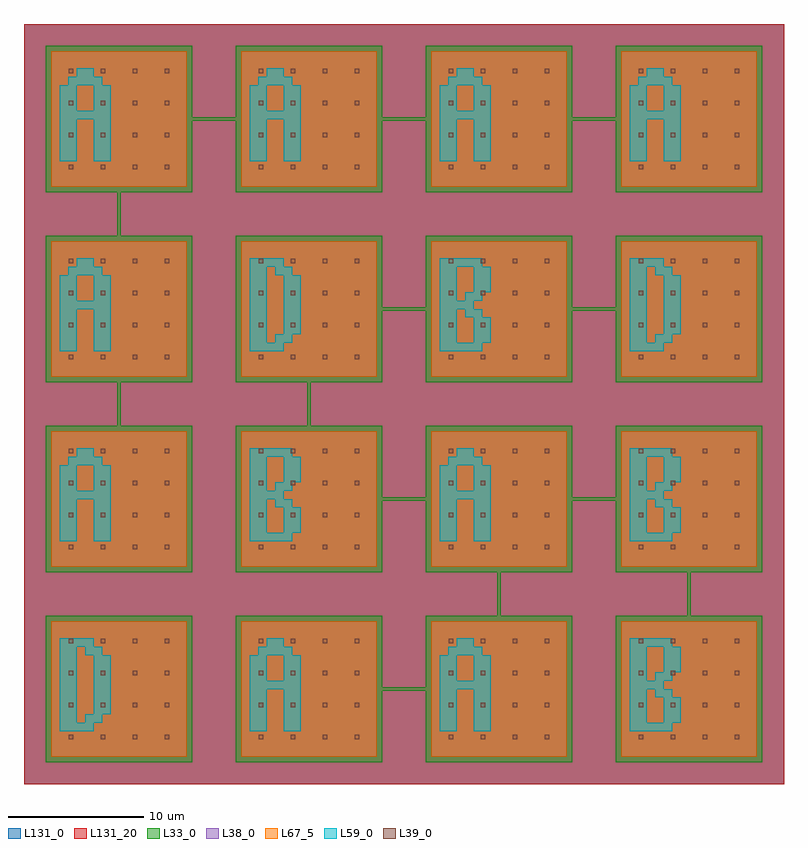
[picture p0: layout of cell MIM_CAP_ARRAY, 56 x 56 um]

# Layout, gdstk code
import gdstk
lib = gdstk.Library(unit=1e-6, precision=1e-09)
def R(c, l, rs):  # rectangles x0, y0, x1, y1
    for r in rs: c.add(gdstk.rectangle(r[:2], r[2:], *l))
def A(c, l, x, y, w, h, nx, ny, dx, dy):  # array of equal rectangles
    R(c, l, [(x+i*dx, y+j*dy, x+i*dx+w, y+j*dy+h) for i in range(nx) for j in range(ny)])
def P(c, l, *ps):  # polygons
    for p in ps: c.add(gdstk.Polygon(p, *l))
L33_0 = (33, 0)
L38_0 = (38, 0)
L39_0 = (39, 0)
L59_0 = (59, 0)
L67_5 = (67, 5)
L131_0 = (131, 0)
L131_20 = (131, 20)

mim_cap_array = lib.new_cell('MIM_CAP_ARRAY')
A(mim_cap_array, L33_0, -0.4, -0.4, 10.8, 10.8, 4, 4, 14, 14)
A(mim_cap_array, L33_0, 5, 46.86, 14, 0.28, 3, 1, 14, 0)
R(mim_cap_array, L33_0, [(19,4.86,33,5.14), (32.86,5,33.14,19), (46.86,5,47.14,19), (19,18.86,47,19.14), (4.86,19,5.14,33), (19,32.86,47,33.14), (4.86,33,5.14,47)])
P(mim_cap_array, L33_0, [(18.86,19),(19.14,19),(19.14,32.86),(33,32.86),(33,33.14),(18.86,33.14),(18.86,33.14)])
A(mim_cap_array, L38_0, 0, 0, 10, 10, 4, 4, 14, 14)
A(mim_cap_array, L39_0, 1.28, 1.28, 0.36, 0.36, 4, 4, 2.36, 2.36)
A(mim_cap_array, L39_0, 15.28, 1.28, 0.36, 0.36, 4, 4, 2.36, 2.36)
A(mim_cap_array, L39_0, 29.28, 1.28, 0.36, 0.36, 4, 4, 2.36, 2.36)
A(mim_cap_array, L39_0, 43.28, 1.28, 0.36, 0.36, 4, 4, 2.36, 2.36)
A(mim_cap_array, L39_0, 1.28, 15.28, 0.36, 0.36, 4, 4, 2.36, 2.36)
A(mim_cap_array, L39_0, 15.28, 15.28, 0.36, 0.36, 4, 4, 2.36, 2.36)
A(mim_cap_array, L39_0, 29.28, 15.28, 0.36, 0.36, 4, 4, 2.36, 2.36)
A(mim_cap_array, L39_0, 43.28, 15.28, 0.36, 0.36, 4, 4, 2.36, 2.36)
A(mim_cap_array, L39_0, 1.28, 29.28, 0.36, 0.36, 4, 4, 2.36, 2.36)
A(mim_cap_array, L39_0, 15.28, 29.28, 0.36, 0.36, 4, 4, 2.36, 2.36)
A(mim_cap_array, L39_0, 29.28, 29.28, 0.36, 0.36, 4, 4, 2.36, 2.36)
A(mim_cap_array, L39_0, 43.28, 29.28, 0.36, 0.36, 4, 4, 2.36, 2.36)
A(mim_cap_array, L39_0, 1.28, 43.28, 0.36, 0.36, 4, 4, 2.36, 2.36)
A(mim_cap_array, L39_0, 15.28, 43.28, 0.36, 0.36, 4, 4, 2.36, 2.36)
A(mim_cap_array, L39_0, 29.28, 43.28, 0.36, 0.36, 4, 4, 2.36, 2.36)
A(mim_cap_array, L39_0, 43.28, 43.28, 0.36, 0.36, 4, 4, 2.36, 2.36)
P(mim_cap_array, L59_0, [(3.75,3.125),(4.375,3.125),(4.375,7.5),(3.75,7.5),(3.75,8.125),(3.125,8.125),(3.125,8.75),(0.625,8.75),(0.625,2.5),(1.875,2.5),(1.875,8.125),(2.5,8.125),(2.5,7.5),(3.125,7.5),(3.125,3.125),(2.5,3.125),(2.5,2.5),(1.875,2.5),(0.625,2.5),(0.625,1.875),(3.125,1.875),(3.125,2.5),(3.75,2.5)],
  [(15.875,1.875),(15.875,5),(17.125,5),(17.125,1.875),(18.375,1.875),(18.375,7.5),(17.75,7.5),(17.75,8.125),(17.125,8.125),(17.125,8.75),(15.875,8.75),(15.875,8.125),(15.25,8.125),(15.25,7.5),(14.625,7.5),(14.625,5.625),(15.875,5.625),(15.875,7.5),(17.125,7.5),(17.125,5.625),(15.875,5.625),(14.625,5.625),(14.625,1.875)],
  [(29.875,1.875),(29.875,5),(31.125,5),(31.125,1.875),(32.375,1.875),(32.375,7.5),(31.75,7.5),(31.75,8.125),(31.125,8.125),(31.125,8.75),(29.875,8.75),(29.875,8.125),(29.25,8.125),(29.25,7.5),(28.625,7.5),(28.625,5.625),(29.875,5.625),(29.875,7.5),(31.125,7.5),(31.125,5.625),(29.875,5.625),(28.625,5.625),(28.625,1.875)],
  [(46.375,4.375),(45.75,4.375),(45.75,5),(45.125,5),(45.125,5.625),(45.75,5.625),(45.75,6.25),(46.375,6.25),(46.375,8.125),(45.75,8.125),(45.75,8.75),(42.625,8.75),(42.625,5.625),(43.875,5.625),(43.875,8.125),(45.125,8.125),(45.125,6.25),(44.5,6.25),(44.5,5.625),(43.875,5.625),(42.625,5.625),(42.625,2.5),(43.875,2.5),(43.875,5),(44.5,5),(44.5,4.375),(45.125,4.375),(45.125,2.5),(43.875,2.5),(42.625,2.5),(42.625,1.875),(45.75,1.875),(45.75,2.5),(46.375,2.5)],
  [(1.875,15.875),(1.875,19),(3.125,19),(3.125,15.875),(4.375,15.875),(4.375,21.5),(3.75,21.5),(3.75,22.125),(3.125,22.125),(3.125,22.75),(1.875,22.75),(1.875,22.125),(1.25,22.125),(1.25,21.5),(0.625,21.5),(0.625,19.625),(1.875,19.625),(1.875,21.5),(3.125,21.5),(3.125,19.625),(1.875,19.625),(0.625,19.625),(0.625,15.875)],
  [(18.375,18.375),(17.75,18.375),(17.75,19),(17.125,19),(17.125,19.625),(17.75,19.625),(17.75,20.25),(18.375,20.25),(18.375,22.125),(17.75,22.125),(17.75,22.75),(14.625,22.75),(14.625,19.625),(15.875,19.625),(15.875,22.125),(17.125,22.125),(17.125,20.25),(16.5,20.25),(16.5,19.625),(15.875,19.625),(14.625,19.625),(14.625,16.5),(15.875,16.5),(15.875,19),(16.5,19),(16.5,18.375),(17.125,18.375),(17.125,16.5),(15.875,16.5),(14.625,16.5),(14.625,15.875),(17.75,15.875),(17.75,16.5),(18.375,16.5)],
  [(29.875,15.875),(29.875,19),(31.125,19),(31.125,15.875),(32.375,15.875),(32.375,21.5),(31.75,21.5),(31.75,22.125),(31.125,22.125),(31.125,22.75),(29.875,22.75),(29.875,22.125),(29.25,22.125),(29.25,21.5),(28.625,21.5),(28.625,19.625),(29.875,19.625),(29.875,21.5),(31.125,21.5),(31.125,19.625),(29.875,19.625),(28.625,19.625),(28.625,15.875)],
  [(46.375,18.375),(45.75,18.375),(45.75,19),(45.125,19),(45.125,19.625),(45.75,19.625),(45.75,20.25),(46.375,20.25),(46.375,22.125),(45.75,22.125),(45.75,22.75),(42.625,22.75),(42.625,19.625),(43.875,19.625),(43.875,22.125),(45.125,22.125),(45.125,20.25),(44.5,20.25),(44.5,19.625),(43.875,19.625),(42.625,19.625),(42.625,16.5),(43.875,16.5),(43.875,19),(44.5,19),(44.5,18.375),(45.125,18.375),(45.125,16.5),(43.875,16.5),(42.625,16.5),(42.625,15.875),(45.75,15.875),(45.75,16.5),(46.375,16.5)],
  [(1.875,29.875),(1.875,33),(3.125,33),(3.125,29.875),(4.375,29.875),(4.375,35.5),(3.75,35.5),(3.75,36.125),(3.125,36.125),(3.125,36.75),(1.875,36.75),(1.875,36.125),(1.25,36.125),(1.25,35.5),(0.625,35.5),(0.625,33.625),(1.875,33.625),(1.875,35.5),(3.125,35.5),(3.125,33.625),(1.875,33.625),(0.625,33.625),(0.625,29.875)],
  [(17.75,31.125),(18.375,31.125),(18.375,35.5),(17.75,35.5),(17.75,36.125),(17.125,36.125),(17.125,36.75),(14.625,36.75),(14.625,30.5),(15.875,30.5),(15.875,36.125),(16.5,36.125),(16.5,35.5),(17.125,35.5),(17.125,31.125),(16.5,31.125),(16.5,30.5),(15.875,30.5),(14.625,30.5),(14.625,29.875),(17.125,29.875),(17.125,30.5),(17.75,30.5)],
  [(32.375,32.375),(31.75,32.375),(31.75,33),(31.125,33),(31.125,33.625),(31.75,33.625),(31.75,34.25),(32.375,34.25),(32.375,36.125),(31.75,36.125),(31.75,36.75),(28.625,36.75),(28.625,33.625),(29.875,33.625),(29.875,36.125),(31.125,36.125),(31.125,34.25),(30.5,34.25),(30.5,33.625),(29.875,33.625),(28.625,33.625),(28.625,30.5),(29.875,30.5),(29.875,33),(30.5,33),(30.5,32.375),(31.125,32.375),(31.125,30.5),(29.875,30.5),(28.625,30.5),(28.625,29.875),(31.75,29.875),(31.75,30.5),(32.375,30.5)],
  [(45.75,31.125),(46.375,31.125),(46.375,35.5),(45.75,35.5),(45.75,36.125),(45.125,36.125),(45.125,36.75),(42.625,36.75),(42.625,30.5),(43.875,30.5),(43.875,36.125),(44.5,36.125),(44.5,35.5),(45.125,35.5),(45.125,31.125),(44.5,31.125),(44.5,30.5),(43.875,30.5),(42.625,30.5),(42.625,29.875),(45.125,29.875),(45.125,30.5),(45.75,30.5)],
  [(1.875,43.875),(1.875,47),(3.125,47),(3.125,43.875),(4.375,43.875),(4.375,49.5),(3.75,49.5),(3.75,50.125),(3.125,50.125),(3.125,50.75),(1.875,50.75),(1.875,50.125),(1.25,50.125),(1.25,49.5),(0.625,49.5),(0.625,47.625),(1.875,47.625),(1.875,49.5),(3.125,49.5),(3.125,47.625),(1.875,47.625),(0.625,47.625),(0.625,43.875)],
  [(15.875,43.875),(15.875,47),(17.125,47),(17.125,43.875),(18.375,43.875),(18.375,49.5),(17.75,49.5),(17.75,50.125),(17.125,50.125),(17.125,50.75),(15.875,50.75),(15.875,50.125),(15.25,50.125),(15.25,49.5),(14.625,49.5),(14.625,47.625),(15.875,47.625),(15.875,49.5),(17.125,49.5),(17.125,47.625),(15.875,47.625),(14.625,47.625),(14.625,43.875)],
  [(29.875,43.875),(29.875,47),(31.125,47),(31.125,43.875),(32.375,43.875),(32.375,49.5),(31.75,49.5),(31.75,50.125),(31.125,50.125),(31.125,50.75),(29.875,50.75),(29.875,50.125),(29.25,50.125),(29.25,49.5),(28.625,49.5),(28.625,47.625),(29.875,47.625),(29.875,49.5),(31.125,49.5),(31.125,47.625),(29.875,47.625),(28.625,47.625),(28.625,43.875)],
  [(43.875,43.875),(43.875,47),(45.125,47),(45.125,43.875),(46.375,43.875),(46.375,49.5),(45.75,49.5),(45.75,50.125),(45.125,50.125),(45.125,50.75),(43.875,50.75),(43.875,50.125),(43.25,50.125),(43.25,49.5),(42.625,49.5),(42.625,47.625),(43.875,47.625),(43.875,49.5),(45.125,49.5),(45.125,47.625),(43.875,47.625),(42.625,47.625),(42.625,43.875)])
A(mim_cap_array, L67_5, 0, 0, 10, 10, 4, 4, 14, 14)
A(mim_cap_array, L131_0, -2, -2, 14, 14, 4, 4, 14, 14)
A(mim_cap_array, L131_20, -2, -2, 14, 14, 4, 4, 14, 14)

lib.write_gds('MIM_CAP_ARRAY.gds')
